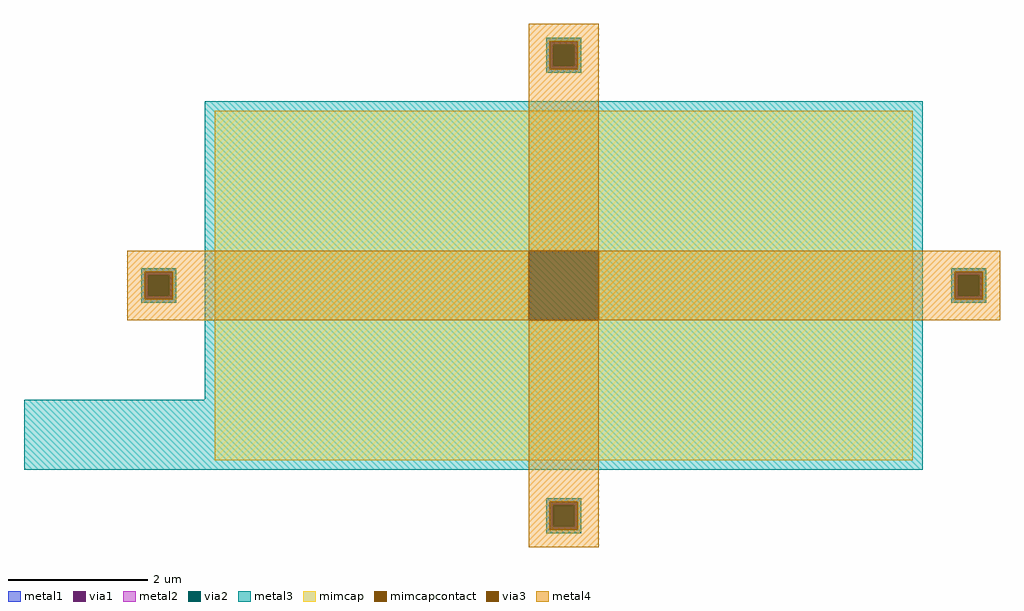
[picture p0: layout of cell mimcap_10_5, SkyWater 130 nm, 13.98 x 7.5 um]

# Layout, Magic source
magic
tech sky130A
<< metal1 >>
rect 475 555 525 605
rect -105 265 -55 275
rect -105 235 -95 265
rect -65 235 -55 265
rect -105 225 -55 235
rect 1055 265 1105 275
rect 1055 235 1065 265
rect 1095 235 1105 265
rect 1055 225 1105 235
<< via1 >>
rect -95 235 -65 265
rect 1065 235 1095 265
<< metal2 >>
rect 475 595 525 605
rect 475 565 485 595
rect 515 565 525 595
rect 475 555 525 565
rect -105 265 -55 275
rect -105 235 -95 265
rect -65 235 -55 265
rect -105 225 -55 235
rect 1055 265 1105 275
rect 1055 235 1065 265
rect 1095 235 1105 265
rect 1055 225 1105 235
rect 475 -65 525 -55
rect 475 -95 485 -65
rect 515 -95 525 -65
rect 475 -105 525 -95
<< via2 >>
rect 485 565 515 595
rect -95 235 -65 265
rect 1065 235 1095 265
rect 485 -95 515 -65
<< metal3 >>
rect 475 600 525 605
rect 475 560 480 600
rect 520 560 525 600
rect 475 555 525 560
rect -105 270 -55 275
rect -105 230 -100 270
rect -60 230 -55 270
rect -105 225 -55 230
rect -14 86 1014 514
rect 1055 270 1105 275
rect 1055 230 1060 270
rect 1100 230 1105 270
rect 1055 225 1105 230
rect -273 -14 1014 86
rect 475 -60 525 -55
rect 475 -100 480 -60
rect 520 -100 525 -60
rect 475 -105 525 -100
<< via3 >>
rect 480 595 520 600
rect 480 565 485 595
rect 485 565 515 595
rect 515 565 520 595
rect 480 560 520 565
rect -100 265 -60 270
rect -100 235 -95 265
rect -95 235 -65 265
rect -65 235 -60 265
rect -100 230 -60 235
rect 1060 265 1100 270
rect 1060 235 1065 265
rect 1065 235 1095 265
rect 1095 235 1100 265
rect 1060 230 1100 235
rect 480 -65 520 -60
rect 480 -95 485 -65
rect 485 -95 515 -65
rect 515 -95 520 -65
rect 480 -100 520 -95
<< mimcap >>
rect 0 300 1000 500
rect 0 200 450 300
rect 550 200 1000 300
rect 0 0 1000 200
<< mimcapcontact >>
rect 450 200 550 300
<< metal4 >>
rect 450 600 550 625
rect 450 560 480 600
rect 520 560 550 600
rect 450 300 550 560
rect -125 270 450 300
rect -125 230 -100 270
rect -60 230 450 270
rect -125 200 450 230
rect 550 270 1125 300
rect 550 230 1060 270
rect 1100 230 1125 270
rect 550 200 1125 230
rect 450 -60 550 200
rect 450 -100 480 -60
rect 520 -100 550 -60
rect 450 -125 550 -100
<< end >>
